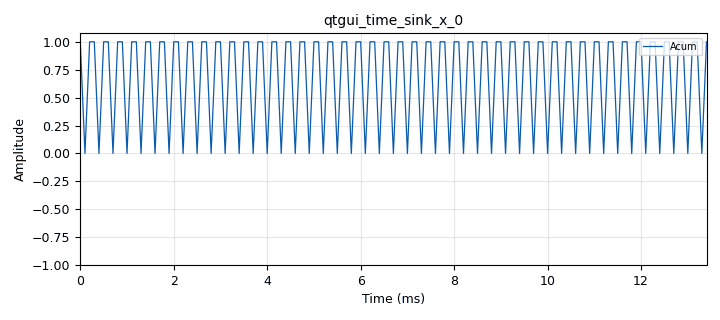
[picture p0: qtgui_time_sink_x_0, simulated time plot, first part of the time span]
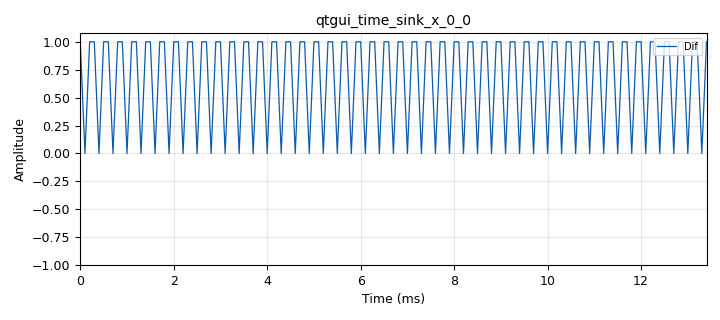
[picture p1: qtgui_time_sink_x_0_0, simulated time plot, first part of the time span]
options:
  parameters:
    generate_options: qt_gui
    id: PP1
    output_language: python
    title: Not titled yet
  states: {}

blocks:
- name: samp_rate
  id: variable
  parameters:
    value: '10000'
  states: {}
- name: blocks_throttle2_0
  id: blocks_throttle2
  parameters:
    samples_per_second: samp_rate
    type: float
  states: {}
- name: blocks_throttle2_0_0
  id: blocks_throttle2
  parameters:
    samples_per_second: samp_rate
    type: float
  states: {}
- name: blocks_vector_source_x_0
  id: blocks_vector_source_x
  parameters:
    repeat: 'True'
    type: float
    vector: (1,0,-1)
  states: {}
- name: blocks_vector_source_x_0_0
  id: blocks_vector_source_x
  parameters:
    repeat: 'True'
    type: float
    vector: (1, 0, -1)
  states: {}
- name: epy_block_0
  id: epy_block
  parameters:
    _source_code: "import numpy as np\nfrom gnuradio import gr\n\n# BLOQUE ACUMULADOR\n\nclass blk(gr.sync_block):\n    def __init__(self):\n        # Solo argumentos por defecto aquí\n        gr.sync_block.__init__(\n            self,\n            name='e_Acum',             \n            in_sig=[np.float32],\n            out_sig=[np.float32]\n        )\n        self.accumulator = 0.0          # Estado interno para acumulación continua\n\n    def work(self, input_items, output_items):\n        x = input_items[0]              # Señal de entrada\n        y = output_items[0]             # Señal de salida acumulada\n\n        # Acumular de forma continua\n        for i in range(len(x)):\n            self.accumulator += x[i]\n            y[i] = self.accumulator\n\n        return len(y)\n\n\n"
  states: {}
- name: epy_block_1
  id: epy_block
  parameters:
    _source_code: "import numpy as np\nfrom gnuradio import gr\n\n# BLOQUE DE ACUMULACIÓN DIFERENCIAL\n\nclass blk(gr.sync_block):\n    def __init__(self):\n        gr.sync_block.__init__(\n            self,\n            name='e_Diff',               # Nombre del bloque\n            in_sig=[np.float32],\n            out_sig=[np.float32]\n        )\n        self.acum_anterior = 0.0         # Estado: última suma acumulada\n\n    def work(self, input_items, output_items):\n        x = input_items[0]               # Señal de entrada\n        y = output_items[0]              # Señal de salida\n        N = len(x)\n\n        # Cálculo de la acumulación diferencial\n        acumulado = np.cumsum(x) + self.acum_anterior\n        y[:] = acumulado - self.acum_anterior\n\n        # Guardamos el nuevo valor acumulado total para el siguiente bloque\n        self.acum_anterior = acumulado[-1]\n\n        return len(y)\n\n"
  states: {}
- name: qtgui_time_sink_x_0
  id: qtgui_time_sink_x
  parameters:
    color1: green
    label1: Acum
    size: '1024'
    srate: samp_rate
    type: float
  states: {}
- name: qtgui_time_sink_x_0_0
  id: qtgui_time_sink_x
  parameters:
    label1: Dif
    size: '1024'
    srate: samp_rate
    type: float
  states: {}

connections:
- [blocks_throttle2_0, '0', qtgui_time_sink_x_0, '0']
- [blocks_throttle2_0_0, '0', qtgui_time_sink_x_0_0, '0']
- [blocks_vector_source_x_0, '0', epy_block_0, '0']
- [blocks_vector_source_x_0_0, '0', epy_block_1, '0']
- [epy_block_0, '0', blocks_throttle2_0, '0']
- [epy_block_1, '0', blocks_throttle2_0_0, '0']

metadata:
  file_format: 1
  grc_version: v3.10.11.0-89-ga17f69e7
